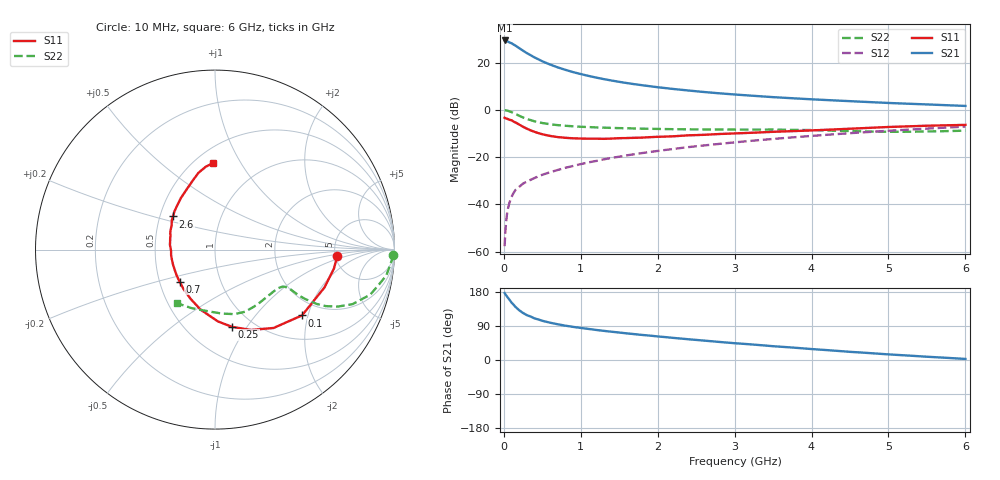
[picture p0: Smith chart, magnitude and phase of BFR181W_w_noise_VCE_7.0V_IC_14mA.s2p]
! Infineon Technologies  Discrete & RF Semiconductors
! BFR181W
! VCE =  7.0 V,  IC =  14 mA
! Common Emitter S-Parameters:  Jan 2017
# GHz  S  MA  R  50
!  f  S11  S21  S12  S22
! GHz  MAG  ANG  MAG  ANG  MAG  ANG  MAG  ANG
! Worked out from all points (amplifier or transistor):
!   77 points, 10 MHz to 6 GHz, reference 50 ohm
!   highest |S21| = 29.5 dB at 10 MHz (marker M1)
!   |S21| within 3 dB of that: start of sweep to 187.9 MHz
!   unconditionally stable (mu >= 1): 883.6 MHz to 2.815 GHz
!   at 130 MHz: K = 0.33, MSG = 31.3 dB, |S12| = -35.0 dB
!   at 2.2 GHz: K = 1.04, MAG = 11.4 dB, |S12| = -16.5 dB
!   at 6 GHz: K = 0.84, MSG = 4.4 dB, |S12| = -7.1 dB
!   lowest NFmin = 1.43 dB at 450 MHz
!   S11 on the Smith chart (normalised r, x): 10 MHz: 5.23, -0.65; 100 MHz: 1.58, -1.83; 250 MHz: 0.80, -0.86; 700 MHz: 0.63, -0.24; 2.6 GHz: 0.59, +0.24; 6 GHz: 0.61, +0.77
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0.01  0.6832 -2.8  29.74 176.8  0.0013 88.5  0.9894 -1.6
0.02  0.671 -9.0  29.28 173.3  0.0027 98.8  0.9876 -3.3
0.05  0.6453 -19.1  28.31 165.0  0.0077 78.1  0.965 -8.7
0.1  0.6078 -37.1  25.96 151.5  0.0144 75.1  0.901 -16.2
0.15  0.5452 -53.2  23.2 140.4  0.0201 69.7  0.8251 -21.6
0.2  0.491 -65.8  20.41 131.2  0.0235 68.4  0.7542 -24.9
0.25  0.4406 -77.6  18.06 124.0  0.0276 64.9  0.6937 -27.0
0.3  0.4008 -87.6  16 118.3  0.0304 63.6  0.6436 -28.1
0.4  0.3438 -103.6  12.96 109.7  0.0362 63.8  0.5744 -28.7
0.5  0.3058 -116.5  10.76 103.5  0.0423 64.2  0.5293 -28.6
0.6  0.2821 -128.1  9.199 98.5  0.0479 64.9  0.499 -28.2
0.7  0.2663 -137.8  7.998 94.3  0.0535 66.7  0.4778 -27.8
0.9  0.251 -154.0  6.348 87.4  0.0651 68.0  0.4511 -27.8
1.1  0.2465 -166.7  5.277 82.0  0.0775 69.3  0.4342 -28.4
1.3  0.2447 -177.7  4.505 76.9  0.0899 69.6  0.4225 -29.7
1.5  0.2525 174.0  3.949 72.5  0.1023 69.6  0.4125 -31.5
2.1  0.273 153.7  2.911 60.4  0.1422 68.6  0.3942 -39.7
2.6  0.2976 141.6  2.406 51.2  0.177 66.5  0.3867 -48.4
3.1  0.3231 130.8  2.074 42.9  0.2133 63.8  0.3842 -57.2
4.1  0.3751 114.1  1.653 27.5  0.2899 56.9  0.3713 -75.2
5.1  0.4414 101.2  1.388 13.6  0.3705 48.5  0.3447 -100.3
6  0.4836 91.0  1.218 2.8  0.4441 40.0  0.3656 -125.1
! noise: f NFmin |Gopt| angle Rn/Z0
0.45  1.43  0.06  16  0.21
0.9  1.48  0.06  32  0.21
1.9  1.92  0.11  -141  0.21
2.4  2.13  0.14  -109  0.27
